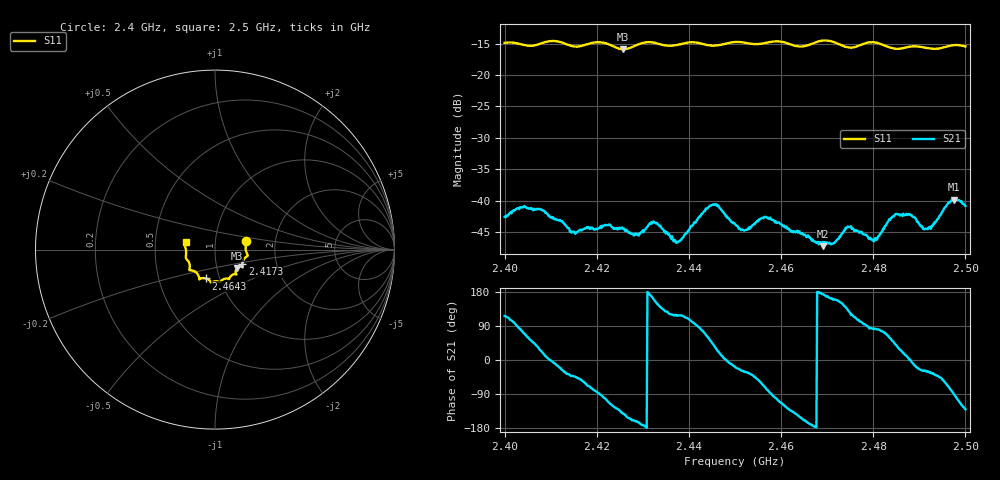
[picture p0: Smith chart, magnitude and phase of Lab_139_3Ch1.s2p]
# Hz S RI R 50
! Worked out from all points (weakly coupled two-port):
!   601 points, 2.4 GHz to 2.5 GHz, reference 50 ohm
!   highest |S21| = -39.82 dB at 2.4975 GHz (marker M1); lowest = -47.2 dB at 2.469 GHz (marker M2)
!   lowest |S11| = -15.9 dB at 2.4257 GHz (marker M3), VSWR 1.38, Z = 62.5 - j13.1 ohm
!   |S11| at or under -10 dB: start of sweep to end of sweep
!   S12 and S22 are empty: the file has one direction only
!   S11 on the Smith chart (normalised r, x): 2.4 GHz: 1.41, +0.14; 2.4173 GHz: 1.34, -0.23; 2.4643 GHz: 0.86, -0.29; 2.5 GHz: 0.72, +0.06
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2.4e9  0.1733 0.0496  -0.00327 0.00669  0 0  0 0
2.4075e9  0.1756 -0.016  0.00751 0.00421  0 0  0 0
2.416667e9  0.153 -0.0745  0.00343 -0.00466  0 0  0 0
2.417333e9  0.1522 -0.0821  0.00304 -0.00516  0 0  0 0
2.425667e9  0.1229 -0.1025  -0.0047 -0.00374  0 0  0 0
2.428667e9  0.1154 -0.129  -0.0052 -0.00164  0 0  0 0
2.433333e9  0.1126 -0.1369  -0.00541 0.00358  0 0  0 0
2.437667e9  0.0841 -0.1524  -0.00215 0.0042  0 0  0 0
2.4455e9  0.0516 -0.1632  0.00744 0.00558  0 0  0 0
2.45e9  0.0291 -0.1808  0.00621 -0.00205  0 0  0 0
2.452333e9  0.021 -0.1788  0.00501 -0.00307  0 0  0 0
2.456833e9  -0.0122 -0.18  0.00166 -0.00724  0 0  0 0
2.464333e9  -0.05 -0.1609  -0.00491 -0.00244  0 0  0 0
2.466667e9  -0.0761 -0.1597  -0.00476 -0.000713  0 0  0 0
2.469e9  -0.0877 -0.1662  -0.00433 0.000438  0 0  0 0
2.474667e9  -0.1032 -0.1294  -0.00389 0.0048  0 0  0 0
2.480333e9  -0.1427 -0.1124  0.000634 0.00499  0 0  0 0
2.483333e9  -0.1405 -0.0899  0.00322 0.00615  0 0  0 0
2.487667e9  -0.159 -0.0529  0.00782 0.000669  0 0  0 0
2.492e9  -0.1612 -0.0253  0.00526 -0.00313  0 0  0 0
2.4975e9  -0.1702 0.0292  -6.99e-05 -0.0102  0 0  0 0
2.5e9  -0.1634 0.0419  -0.00588 -0.00691  0 0  0 0
